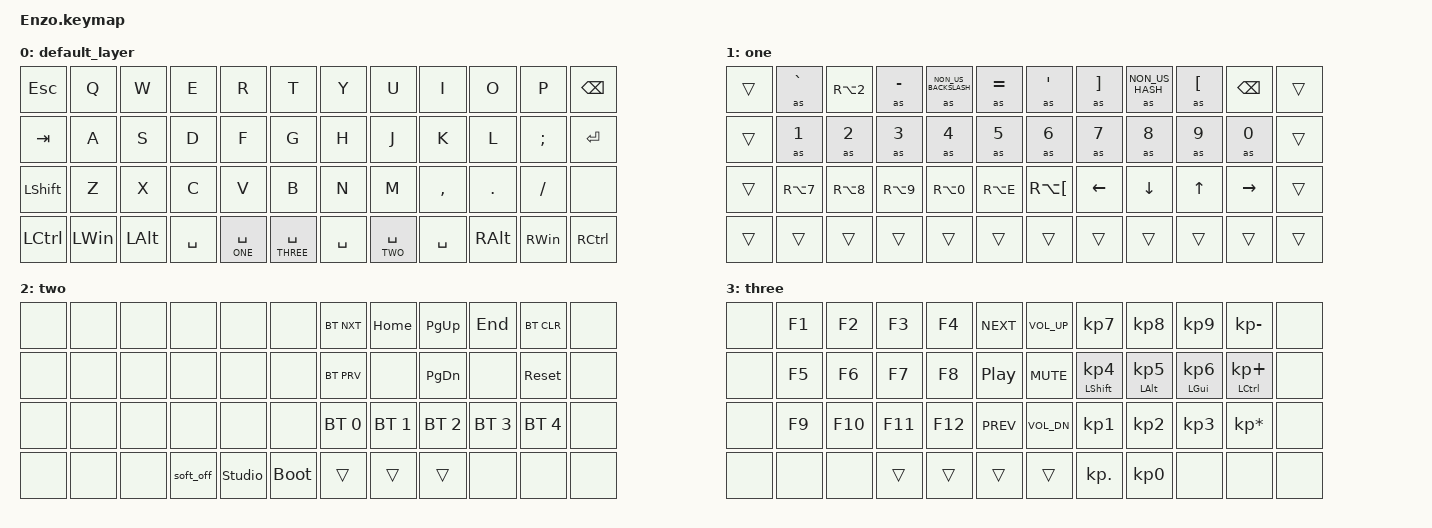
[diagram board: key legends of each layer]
#include <behaviors.dtsi>
#include <dt-bindings/zmk/bt.h>
#include <dt-bindings/zmk/keys.h>

#define DEFAULT  0
#define ONE 1
#define TWO 2
#define THREE 3

&soft_off {
    hold-time-ms = <2000>; // Only turn off it the key is held for 2 seconds or longer.
};

&mt { tapping-term-ms = <200>; };

/ {
    macros {
        as: as {
            compatible = "zmk,behavior-macro-one-param";
            #binding-cells = <1>;
            bindings =
                <&macro_press>,
                <&macro_param_1to1 &macro_param_1to2 &as_ht MACRO_PLACEHOLDER MACRO_PLACEHOLDER>,
                <&macro_pause_for_release>,
                <&macro_release>,
                <&macro_param_1to1 &macro_param_1to2 &as_ht MACRO_PLACEHOLDER MACRO_PLACEHOLDER>;

            label = "AS";
        };

        shift: shift {
            compatible = "zmk,behavior-macro-one-param";
            #binding-cells = <1>;
            bindings =
                <&macro_press>,
                <&kp LSHIFT>,
                <&macro_tap>,
                <&macro_param_1to1 &kp MACRO_PLACEHOLDER>,
                <&macro_release>,
                <&kp LSHIFT>;

            label = "SHIFT";
        };
    };

    behaviors {
        as_ht: autoshift_hold_tap {
            compatible = "zmk,behavior-hold-tap";
            label = "AUTOSHIFT_HOLD_TAP";
            bindings = <&shift>, <&kp>;

            #binding-cells = <2>;
            tapping-term-ms = <190>;
        };
    };

    keymap {
        compatible = "zmk,keymap";

        default_layer {
            bindings = <
&kp ESC           &kp Q         &kp W         &kp E      &kp R          &kp T            &kp Y      &kp U          &kp I      &kp O          &kp P          &kp BACKSPACE
&kp TAB           &kp A         &kp S         &kp D      &kp F          &kp G            &kp H      &kp J          &kp K      &kp L          &kp SEMI       &kp ENTER
&kp LSHIFT        &kp Z         &kp X         &kp C      &kp V          &kp B            &kp N      &kp M          &kp COMMA  &kp DOT        &kp FSLH       &none
&kp LEFT_CONTROL  &kp LEFT_WIN  &kp LEFT_ALT  &kp SPACE  &lt ONE SPACE  &lt THREE SPACE  &kp SPACE  &lt TWO SPACE  &kp SPACE  &kp RIGHT_ALT  &kp RIGHT_WIN  &kp RIGHT_CONTROL
            >;
        };

        one {
            bindings = <
&trans  &as GRAVE   &kp RA(N2)  &as MINUS   &as NON_US_BACKSLASH  &as EQUAL  &as SINGLE_QUOTE      &as RIGHT_BRACKET  &as NON_US_HASH  &as LBKT  &kp BACKSPACE  &trans
&trans  &as N1      &as N2      &as N3      &as N4                &as N5     &as N6                &as N7             &as N8           &as N9    &as N0         &trans
&trans  &kp RA(N7)  &kp RA(N8)  &kp RA(N9)  &kp RA(N0)            &kp RA(E)  &kp RA(LEFT_BRACKET)  &kp LEFT           &kp DOWN         &kp UP    &kp RIGHT      &trans
&trans  &trans      &trans      &trans      &trans                &trans     &trans                &trans             &trans           &trans    &trans         &trans
            >;
        };

        two {
            bindings = <
&none  &none  &none  &none      &none           &none        &bt BT_NXT    &kp HOME      &kp PAGE_UP    &kp END       &bt BT_CLR    &none
&none  &none  &none  &none      &none           &none        &bt BT_PRV    &none         &kp PAGE_DOWN  &none         &sys_reset    &none
&none  &none  &none  &none      &none           &none        &bt BT_SEL 0  &bt BT_SEL 1  &bt BT_SEL 2   &bt BT_SEL 3  &bt BT_SEL 4  &none
&none  &none  &none  &soft_off  &studio_unlock  &bootloader  &trans        &trans        &trans         &none         &none         &none
            >;
        };

        three {
            bindings = <
&none  &kp F1  &kp F2   &kp F3   &kp F4   &kp C_NEXT  &kp C_VOL_UP  &kp KP_N7         &kp KP_N8           &kp KP_N9           &kp KP_MINUS              &none
&none  &kp F5  &kp F6   &kp F7   &kp F8   &kp C_PP    &kp C_MUTE    &mt LSHIFT KP_N4  &mt LEFT_ALT KP_N5  &mt LEFT_GUI KP_N6  &mt LEFT_CONTROL KP_PLUS  &none
&none  &kp F9  &kp F10  &kp F11  &kp F12  &kp C_PREV  &kp C_VOL_DN  &kp KP_N1         &kp KP_N2           &kp KP_N3           &kp KP_MULTIPLY           &none
&none  &none   &none    &trans   &trans   &trans      &trans        &kp KP_DOT        &kp KP_N0           &none               &none                     &none
            >;
        };
    };
};
